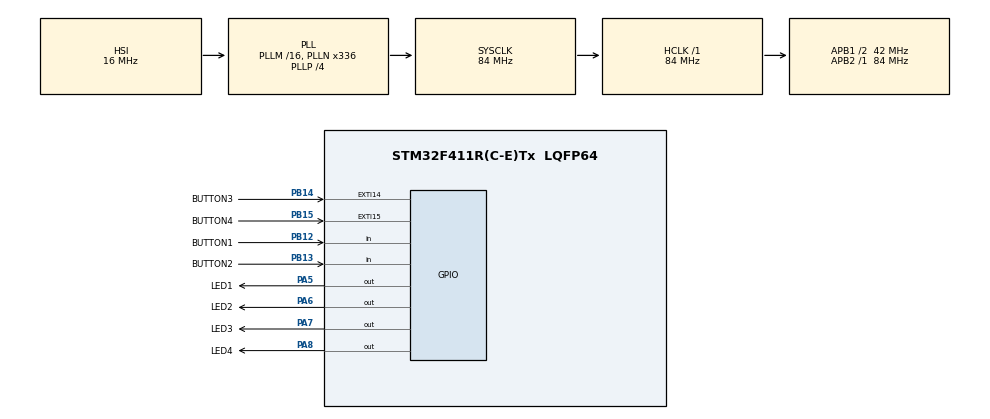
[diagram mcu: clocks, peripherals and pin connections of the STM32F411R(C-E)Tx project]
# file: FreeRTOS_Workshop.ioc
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Mcu.Family=STM32F4
Mcu.Name=STM32F411R(C-E)Tx
Mcu.Package=LQFP64
NVIC.EXTI15_10_IRQn=true\:5\:0\:true\:false\:true\:true\:true\:true
NVIC.PriorityGroup=NVIC_PRIORITYGROUP_4
NVIC.TIM4_IRQn=true\:0\:0\:false\:false\:true\:false\:true\:true
NVIC.TimeBase=TIM4_IRQn
NVIC.TimeBaseIP=TIM4
PA13.GPIO_Label=TMS
PA13.Mode=Serial_Wire
PA13.Signal=SYS_JTMS-SWDIO
PA14.GPIO_Label=TCK
PA14.Mode=Serial_Wire
PA14.Signal=SYS_JTCK-SWCLK
PA2.GPIO_Label=USART_TX
PA2.Signal=USART2_TX
PA3.GPIO_Label=USART_RX
PA3.Signal=USART2_RX
PA5.GPIO_Label=LED1
PA5.Signal=GPIO_Output
PA6.GPIO_Label=LED2
PA6.Signal=GPIO_Output
PA7.GPIO_Label=LED3
PA7.Signal=GPIO_Output
PA8.GPIO_Label=LED4
PA8.Signal=GPIO_Output
PB12.GPIO_Label=BUTTON1
PB12.Signal=GPIO_Input
PB13.GPIO_Label=BUTTON2
PB13.Signal=GPIO_Input
PB14.GPIO_Label=BUTTON3
PB14.Signal=GPXTI14
PB15.GPIO_Label=BUTTON4
PB15.Signal=GPXTI15
PB3.GPIO_Label=SWO
PB3.Signal=SYS_JTDO-SWO
PC14-OSC32_IN.Signal=RCC_OSC32_IN
PC15-OSC32_OUT.Signal=RCC_OSC32_OUT
PH0\ -\ OSC_IN.Signal=RCC_OSC_IN
PH1\ -\ OSC_OUT.Signal=RCC_OSC_OUT
ProjectManager.HeapSize=0x200
ProjectManager.StackSize=0x400
ProjectManager.TargetToolchain=STM32CubeIDE
RCC.48MHZClocksFreq_Value=84000000
RCC.AHBFreq_Value=84000000
RCC.APB1CLKDivider=RCC_HCLK_DIV2
RCC.APB1Freq_Value=42000000
RCC.APB1TimFreq_Value=84000000
RCC.APB2Freq_Value=84000000
RCC.APB2TimFreq_Value=84000000
RCC.CortexFreq_Value=84000000
RCC.FLatency-AdvancedSettings=FLASH_LATENCY_2
RCC.HCLKFreq_Value=84000000
RCC.HSE_VALUE=8000000
RCC.HSI_VALUE=16000000
RCC.LSE_VALUE=32768
RCC.PLLN=336
RCC.PLLP=RCC_PLLP_DIV4
RCC.SYSCLKFreq_VALUE=84000000
RCC.SYSCLKSource=RCC_SYSCLKSOURCE_PLLCLK
RCC.VCOOutputFreq_Value=336000000
VP_SYS_VS_tim4.Mode=TIM4
board=NUCLEO-F411RE

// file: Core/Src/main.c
/* USER CODE BEGIN Header */
/*
 * ------------------------------------------------------------
 * FreeRTOS Workshop Base Code:
 * ------------------------------------------------------------
 *
 * Description: This code toggles a GPIO PIN and send a message
 * to systemview every 100 ms

 * Author: Elio Zepeda
 *
 */
/* USER CODE END Header */
#include "main.h"

/* USER CODE BEGIN Includes */
#include "FreeRTOS.h"
#include "task.h"
#include "SEGGER_SYSVIEW.h"

/* USER CODE END Includes */

void SystemClock_Config(void);
static void MX_GPIO_Init(void);

/* USER CODE BEGIN 0 */
extern void SEGGER_UART_init(U32 baud);

#define DWT_CTRL	(*(volatile uint32_t*)0xE0001000)//used for systemview timestamp

void Led1_task(void *pvParameters);

/* USER CODE END 0 */

int main(void)
{

  /* MCU Configuration--------------------------------------------------------*/

  /* Reset of all peripherals, Initializes the Flash interface and the Systick. */
  HAL_Init();

  /* Configure the system clock */
  SystemClock_Config();

  /* Initialize all configured peripherals */
  MX_GPIO_Init();
  /* USER CODE BEGIN 2 */
  //Enable the CYCCNT counter
    DWT_CTRL |= (1<<0);//used for systemview timestamp

    //Initialize UART
    SEGGER_UART_init(200000);
    NVIC_SetPriorityGrouping(0);
    //Start events recording
    SEGGER_SYSVIEW_Conf();
    //SEGGER_SYSVIEW_Start(); //already called in segger_uart.c
    HAL_Delay(5000); //This delay is to give time to click on play in systemview, to capture tasks creations

    /************* YOUR CODE INITIALIZATIONS STARTS HERE *****************************/

    xTaskCreate(Led1_task, "LED 1 Task", 200, NULL, 2, NULL);

    /************* YOUR CODE INITIALIZATIONS ENDS HERE *******************************/

  vTaskStartScheduler(); // Start the FreeRTOS scheduler
  /* USER CODE END 2 */

  /* Infinite loop */
  while (1)
  {

  }
}

void SystemClock_Config(void)
{
  RCC_OscInitTypeDef RCC_OscInitStruct = {0};
  RCC_ClkInitTypeDef RCC_ClkInitStruct = {0};

  /** Configure the main internal regulator output voltage
  */
  __HAL_RCC_PWR_CLK_ENABLE();
  __HAL_PWR_VOLTAGESCALING_CONFIG(PWR_REGULATOR_VOLTAGE_SCALE1);

  /** Initializes the RCC Oscillators according to the specified parameters
  * in the RCC_OscInitTypeDef structure.
  */
  RCC_OscInitStruct.OscillatorType = RCC_OSCILLATORTYPE_HSI;
  RCC_OscInitStruct.HSIState = RCC_HSI_ON;
  RCC_OscInitStruct.HSICalibrationValue = RCC_HSICALIBRATION_DEFAULT;
  RCC_OscInitStruct.PLL.PLLState = RCC_PLL_ON;
  RCC_OscInitStruct.PLL.PLLSource = RCC_PLLSOURCE_HSI;
  RCC_OscInitStruct.PLL.PLLM = 16;
  RCC_OscInitStruct.PLL.PLLN = 336;
  RCC_OscInitStruct.PLL.PLLP = RCC_PLLP_DIV4;
  RCC_OscInitStruct.PLL.PLLQ = 4;
  if (HAL_RCC_OscConfig(&RCC_OscInitStruct) != HAL_OK)
  {
    Error_Handler();
  }

  /** Initializes the CPU, AHB and APB buses clocks
  */
  RCC_ClkInitStruct.ClockType = RCC_CLOCKTYPE_HCLK|RCC_CLOCKTYPE_SYSCLK
                              |RCC_CLOCKTYPE_PCLK1|RCC_CLOCKTYPE_PCLK2;
  RCC_ClkInitStruct.SYSCLKSource = RCC_SYSCLKSOURCE_PLLCLK;
  RCC_ClkInitStruct.AHBCLKDivider = RCC_SYSCLK_DIV1;
  RCC_ClkInitStruct.APB1CLKDivider = RCC_HCLK_DIV2;
  RCC_ClkInitStruct.APB2CLKDivider = RCC_HCLK_DIV1;

  if (HAL_RCC_ClockConfig(&RCC_ClkInitStruct, FLASH_LATENCY_2) != HAL_OK)
  {
    Error_Handler();
  }
}

static void MX_GPIO_Init(void)
{
  GPIO_InitTypeDef GPIO_InitStruct = {0};

  /* GPIO Ports Clock Enable */
  __HAL_RCC_GPIOC_CLK_ENABLE();
  __HAL_RCC_GPIOH_CLK_ENABLE();
  __HAL_RCC_GPIOA_CLK_ENABLE();
  __HAL_RCC_GPIOB_CLK_ENABLE();

  /*Configure GPIO pin Output Level */
  HAL_GPIO_WritePin(GPIOA, LED1_Pin|LED2_Pin|LED3_Pin|LED4_Pin, GPIO_PIN_RESET);

  /*Configure GPIO pins : USART_TX_Pin USART_RX_Pin */
  GPIO_InitStruct.Pin = USART_TX_Pin|USART_RX_Pin;
  GPIO_InitStruct.Mode = GPIO_MODE_AF_PP;
  GPIO_InitStruct.Pull = GPIO_NOPULL;
  GPIO_InitStruct.Speed = GPIO_SPEED_FREQ_VERY_HIGH;
  GPIO_InitStruct.Alternate = GPIO_AF7_USART2;
  HAL_GPIO_Init(GPIOA, &GPIO_InitStruct);

  /*Configure GPIO pins : LED1_Pin LED2_Pin LED3_Pin LED4_Pin */
  GPIO_InitStruct.Pin = LED1_Pin|LED2_Pin|LED3_Pin|LED4_Pin;
  GPIO_InitStruct.Mode = GPIO_MODE_OUTPUT_PP;
  GPIO_InitStruct.Pull = GPIO_NOPULL;
  GPIO_InitStruct.Speed = GPIO_SPEED_FREQ_LOW;
  HAL_GPIO_Init(GPIOA, &GPIO_InitStruct);

  /*Configure GPIO pins : BUTTON1_Pin BUTTON2_Pin */
  GPIO_InitStruct.Pin = BUTTON1_Pin|BUTTON2_Pin;
  GPIO_InitStruct.Mode = GPIO_MODE_INPUT;
  GPIO_InitStruct.Pull = GPIO_NOPULL;
  HAL_GPIO_Init(GPIOB, &GPIO_InitStruct);

  /*Configure GPIO pins : BUTTON3_Pin BUTTON4_Pin */
  GPIO_InitStruct.Pin = BUTTON3_Pin|BUTTON4_Pin;
  GPIO_InitStruct.Mode = GPIO_MODE_IT_RISING;
  GPIO_InitStruct.Pull = GPIO_NOPULL;
  HAL_GPIO_Init(GPIOB, &GPIO_InitStruct);

  /* EXTI interrupt init*/
  HAL_NVIC_SetPriority(EXTI15_10_IRQn, 5, 0);
  HAL_NVIC_EnableIRQ(EXTI15_10_IRQn);

}

/* USER CODE BEGIN 4 */
void Led1_task(void *pvParameters)
{
    for (;;)
    {
    	HAL_GPIO_TogglePin(GPIOA, GPIO_PIN_5);
    	SEGGER_SYSVIEW_PrintfTarget("TASK 1");
    	vTaskDelay(100);
    }
}
/* USER CODE END 4 */

void HAL_TIM_PeriodElapsedCallback(TIM_HandleTypeDef *htim)
{
  if (htim->Instance == TIM4)
  {
    HAL_IncTick();
  }
}

void Error_Handler(void)
{
  __disable_irq();
  while (1)
  {
  }
}
